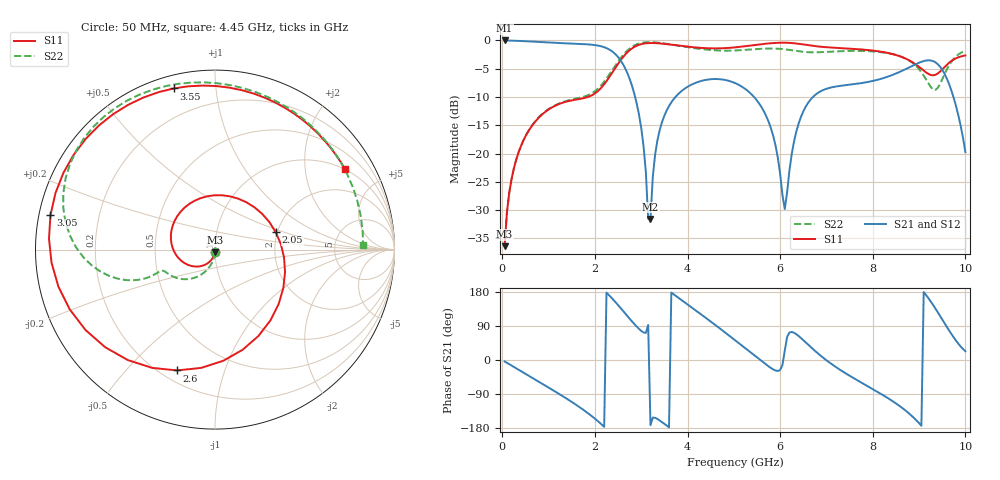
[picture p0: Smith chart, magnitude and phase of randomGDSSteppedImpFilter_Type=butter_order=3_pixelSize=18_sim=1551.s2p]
! freq	dB(S11)	phase(S11)	dB(S12)	phase(S12)
!  dB(S21)	phase(S21)	dB(S22)	phase(S22)
!S-par simulation data
#  GHz  S  DB  R 50
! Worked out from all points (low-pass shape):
!   200 points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, 50 MHz to 10 GHz, reference 50 ohm
!   highest |S21| = -0.01 dB at 50 MHz (marker M1); lowest = -31.6 dB at 3.2 GHz (marker M2)
!   |S21| within 3 dB of the highest: start of sweep to 2.506 GHz
!   lowest |S11| = -36.4 dB at 50 MHz (marker M3), VSWR 1.03, Z = 49.9 - j1.51 ohm
!   |S11| at or under -10 dB: start of sweep to 1.848 GHz
!   |S22| runs from -36.3 to -0.3 dB; largest |S21 - S12| = 0
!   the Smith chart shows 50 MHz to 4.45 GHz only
!   S11 on the Smith chart (normalised r, x): 50 MHz: 1.00, -0.03; 2.05 GHz: 1.96, +0.43; 2.6 GHz: 0.26, -0.70; 3.05 GHz: 0.03, +0.10; 3.55 GHz: 0.06, +0.77; 4.45 GHz: 0.99, +3.25
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0.05  -36.38 -93.9  -0.01 -3.7  -0.01 -3.7  -36.34 -91.6
0.5  -16.98 -138.1  -0.14 -36.5  -0.14 -36.5  -16.93 -115.7
1.75  -10.22 74.6  -0.65 -131.4  -0.65 -131.4  -9.97 -158.3
2.05  -9.06 16.0  -0.89 -159.9  -0.89 -159.9  -8.64 -157.5
2.6  -3.03 -107.4  -4.12 130.6  -4.12 130.6  -2.67 -176.8
3.05  -0.57 168.2  -18.66 72.7  -18.66 72.7  -0.37 139.6
3.2  -0.46 146.2  -31.56 -172.1  -31.56 -172.1  -0.31 125.2
3.4  -0.53 120.9  -15.82 -159.7  -15.82 -159.7  -0.43 106.9
3.55  -0.66 104.4  -12.38 -173.0  -12.38 -173.0  -0.60 93.5
4.45  -1.39 31.7  -6.91 106.2  -6.91 106.2  -1.66 1.8
5.05  -1.21 -3.1  -7.63 49.9  -7.63 49.9  -1.77 -77.8
5.7  -0.57 -38.7  -13.39 -12.3  -13.39 -12.3  -1.45 -176.3
6.15  -0.42 -64.0  -26.87 60.8  -26.87 60.8  -1.62 99.5
6.45  -0.65 -80.0  -13.51 57.9  -13.51 57.9  -1.97 32.9
6.7  -0.95 -91.8  -10.07 29.8  -10.07 29.8  -2.11 -20.9
7.25  -1.34 -115.8  -8.09 -22.4  -8.09 -22.4  -1.92 -107.6
7.8  -1.63 -142.2  -7.49 -62.8  -7.49 -62.8  -1.87 -163.4
8.35  -2.26 -174.1  -6.34 -102.4  -6.34 -102.4  -2.29 149.7
8.85  -3.82 149.0  -4.51 -148.3  -4.51 -148.3  -3.92 97.0
9.25  -6.10 121.5  -3.55 154.8  -3.55 154.8  -8.22 8.1
9.55  -4.70 97.2  -5.91 96.8  -5.91 96.8  -5.95 -109.6
10  -2.65 13.1  -19.76 23.3  -19.76 23.3  -1.82 165.7
